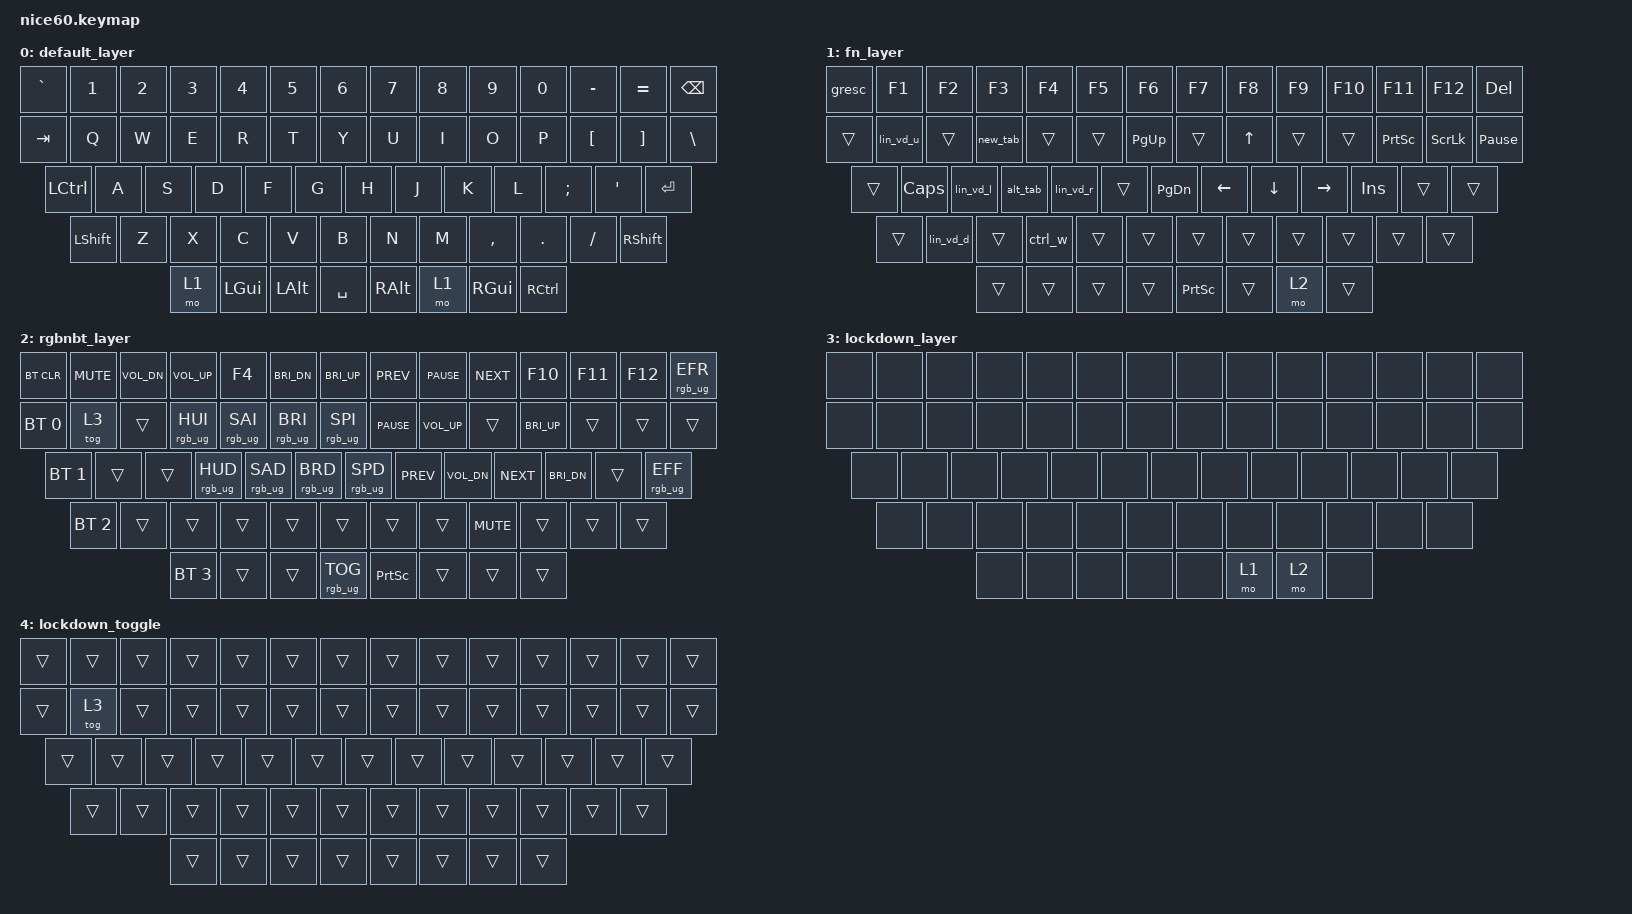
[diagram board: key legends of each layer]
/*
 * Copyright (c) 2021 Nick Winans
 * Copyright (c) 2022 perillamint
 *
 * SPDX-License-Identifier: MIT
 */

#include <behaviors.dtsi>
#include <dt-bindings/zmk/keys.h>
#include <dt-bindings/zmk/rgb.h>
#include <dt-bindings/zmk/bt.h>

/ {
	macros {
		lin_vd_u: lin_vd_u {
			label = "ZM_lin_vd_u";
			compatible = "zmk,behavior-macro";
			#binding-cells = <0>;
			wait-ms = <10>;
			tap-ms = <10>;
			bindings
				= <&macro_press &kp LCTRL &kp LGUI>
				, <&macro_tap &kp UP>
				, <&macro_release &kp LCTRL &kp LGUI>
				;
		};
		lin_vd_d: lin_vd_d {
			label = "ZM_lin_vd_d";
			compatible = "zmk,behavior-macro";
			#binding-cells = <0>;
			wait-ms = <10>;
			tap-ms = <10>;
			bindings
				= <&macro_press &kp LCTRL &kp LGUI>
				, <&macro_tap &kp DOWN>
				, <&macro_release &kp LCTRL &kp LGUI>
				;
		};
		lin_vd_l: lin_vd_l {
			label = "ZM_lin_vd_l";
			compatible = "zmk,behavior-macro";
			#binding-cells = <0>;
			wait-ms = <10>;
			tap-ms = <10>;
			bindings
				= <&macro_press &kp LCTRL &kp LGUI>
				, <&macro_tap &kp LEFT>
				, <&macro_release &kp LCTRL &kp LGUI>
				;
		};
		lin_vd_r: lin_vd_r {
			label = "ZM_lin_vd_r";
			compatible = "zmk,behavior-macro";
			#binding-cells = <0>;
			wait-ms = <10>;
			tap-ms = <10>;
			bindings
				= <&macro_press &kp LCTRL &kp LGUI>
				, <&macro_tap &kp RIGHT>
				, <&macro_release &kp LCTRL &kp LGUI>
				;
		};
		alt_tab: alt_tab {
			label = "ZM_alt_tab";
			compatible = "zmk,behavior-macro";
			#binding-cells = <0>;
			wait-ms = <10>;
			tap-ms = <10>;
			bindings
				= <&macro_press &kp LALT>
				, <&macro_tap &kp TAB>
				, <&macro_release &kp LALT>
				;
		};
		new_tab: new_tab {
			label = "ZM_new_tab";
			compatible = "zmk,behavior-macro";
			#binding-cells = <0>;
			wait-ms = <10>;
			tap-ms = <10>;
			bindings
				= <&macro_press &kp LCTRL>
				, <&macro_tap &kp T>
				, <&macro_release &kp LCTRL>
				;
		};
		ctrl_w: ctrl_w {
			label = "ZM_ctrl_w";
			compatible = "zmk,behavior-macro";
			#binding-cells = <0>;
			wait-ms = <10>;
			tap-ms = <10>;
			bindings
				= <&macro_press &kp LCTRL>
				, <&macro_tap &kp W>
				, <&macro_release &kp LCTRL>
				;
		};
	};

	conditional_layers {
		compatible = "zmk,conditional-layers";

		lock_toggle {
			if-layers = <1 2>;
			then-layer = <4>;
		};
	};

	keymap {
		compatible = "zmk,keymap";
		
		default_layer {
// ------------------------------------------------------------------------------------------
// | ESC |  1  |  2  |  3  |  4  |  5  |  6  |  7  |  8  |  9  |  0  |  -  |  =  |   BKSP   |
// | TAB  |  Q  |  W  |  E  |  R  |  T  |  Y  |  U  |  I  |  O  |  P  |  [  |  ]  |   "|"   |
// | CAPS  |  A  |  S  |  D  |  F  |  G  |  H  |  J  |  K  |  L  |  ;  |  '  |     ENTER    |
// |  SHIFT  |  Z  |  X  |  C  |  V  |  B  |  N  |  M  |  ,  |  .  |  /  |      SHIFT       |
// |  CTL  |  WIN  |  ALT  |            SPACE              |  ALT  |  WIN  |  MO(1) |  CTL  |
// ------------------------------------------------------------------------------------------
			bindings = <
	&kp GRAVE  &kp N1 &kp N2 &kp N3 &kp N4 &kp N5 &kp N6 &kp N7 &kp N8 &kp N9 &kp N0 &kp MINUS &kp EQUAL  &kp BSPC
	&kp TAB     &kp Q  &kp W  &kp E  &kp R  &kp T  &kp Y  &kp U  &kp I  &kp O  &kp P  &kp LBKT  &kp RBKT  &kp BSLH
	&kp LCTRL     &kp A  &kp S  &kp D  &kp F  &kp G  &kp H  &kp J  &kp K  &kp L  &kp SEMI &kp SQT          &kp RET
	&kp LSHFT      &kp Z  &kp X  &kp C  &kp V  &kp B  &kp N  &kp M  &kp COMMA &kp DOT &kp FSLH           &kp RSHFT
	&mo 1        &kp LGUI  &kp LALT             &kp SPACE                     &kp RALT  &mo 1   &kp RGUI  &kp RCTRL
			>;
		};

		fn_layer {
// ------------------------------------------------------------------------------------------------
// | BT CLR | F1  | F2  | F3  | F4  | F5  | F6  | F7  | F8  | F9  | F10  | F11 | F12 | EFFECT REV |
// |  BT 1   |   |  UP |   | HUEUP | SATUP | BRIUP | SPDUP |   |     |    |     |     |           |
// |   BT 2   | LT |  DN  | RT | HUEDN | SATDN | BRIDN | SPDDN |   |     |   |     |  EFFECT FORW |
// |    BT 3     |     |      |      |     |     |     |     |     |     |     |                  |
// |   BT 4  |      |      |             TOG RGB                | PRT SCR |       |       |  DEL  |
// ------------------------------------------------------------------------------------------------
			bindings = <
	&gresc    &kp F1    &kp F2    &kp F3    &kp F4    &kp F5    &kp F6    &kp F7    &kp F8   &kp F9    &kp F10    &kp F11    &kp F12    &kp DEL
	&trans     &lin_vd_u &trans    &new_tab  &trans    &trans    &kp PG_UP &trans    &kp UP   &trans    &trans     &kp PSCRN  &kp SLCK  &kp PAUSE_BREAK
	&trans      &kp CLCK  &lin_vd_l &alt_tab  &lin_vd_r &trans    &kp PG_DN &kp LEFT  &kp DOWN &kp RIGHT &kp INS    &trans              &trans
	&trans       &lin_vd_d  &trans   &ctrl_w   &trans    &trans    &trans    &trans    &trans   &trans   &trans                         &trans
	&trans     &trans   &trans                            &trans                                &kp PSCRN &trans    &mo 2               &trans
			>;
		};

		rgbnbt_layer {
// ------------------------------------------------------------------------------------------------
// | BT CLR | F1  | F2  | F3  | F4  | F5  | F6  | F7  | F8  | F9  | F10  | F11 | F12 | EFFECT REV |
// |  BT 1   |   |  UP |   | HUEUP | SATUP | BRIUP | SPDUP |   |     |    |     |     |           |
// |   BT 2   | LT |  DN  | RT | HUEDN | SATDN | BRIDN | SPDDN |   |     |   |     |  EFFECT FORW |
// |    BT 3     |     |      |      |     |     |     |     |     |     |     |                  |
// |   BT 4  |      |      |             TOG RGB                | PRT SCR |       |       |  DEL  |
// ------------------------------------------------------------------------------------------------
			bindings = <
	&bt BT_CLR   &kp C_MUTE &kp C_VOL_DN &kp C_VOL_UP     &kp F4          &kp C_BRI_DN    &kp C_BRI_UP    &kp C_PREV  &kp C_PAUSE  &kp C_NEXT &kp F10       &kp F11 &kp F12  &rgb_ug RGB_EFR
	&bt BT_SEL 0  &tog 3     &trans       &rgb_ug RGB_HUI  &rgb_ug RGB_SAI &rgb_ug RGB_BRI &rgb_ug RGB_SPI &kp C_PAUSE &kp C_VOL_UP &trans     &kp C_BRI_UP  &trans  &trans  &trans
	&bt BT_SEL 1   &trans     &trans       &rgb_ug RGB_HUD  &rgb_ug RGB_SAD &rgb_ug RGB_BRD &rgb_ug RGB_SPD &kp C_PREV  &kp C_VOL_DN &kp C_NEXT &kp C_BRI_DN  &trans         &rgb_ug RGB_EFF
	&bt BT_SEL 2    &trans     &trans       &trans           &trans          &trans          &trans          &trans      &kp C_MUTE   &trans     &trans                      &trans
	&bt BT_SEL 3  &trans    &trans                                            &rgb_ug RGB_TOG                                         &kp PSCRN   &trans      &trans         &trans
			>;
		};

// Pseudo-shutdown layer to prevent accidental keypress while storing keyboard
// in the backpack without enclosure.
		lockdown_layer {
			bindings = <
	&none   &none  &none  &none  &none  &none  &none  &none  &none  &none  &none  &none     &none      &none
	&none    &none  &none  &none  &none  &none  &none  &none  &none  &none  &none  &none     &none     &none
	&none      &none  &none  &none  &none  &none  &none  &none  &none  &none  &none    &none           &none
	&none       &none  &none  &none  &none  &none  &none  &none  &none     &none   &none               &none
	&none     &none     &none                &none                         &none     &mo 1   &mo 2     &none
			>;
		};

// To escape lockdown mode, use keycombo Fn + App + Q
		lockdown_toggle {
			bindings = <
	&trans  &trans &trans &trans &trans &trans &trans &trans &trans &trans &trans &trans    &trans     &trans
	&trans   &tog 3 &trans &trans &trans &trans &trans &trans &trans &trans &trans &trans    &trans    &trans
	&trans     &trans &trans &trans &trans &trans &trans &trans &trans &trans &trans   &trans          &trans
	&trans      &trans &trans &trans &trans &trans &trans &trans &trans    &trans  &trans              &trans
	&trans    &trans    &trans               &trans                        &trans    &trans  &trans    &trans
			>;
		};
	};
};
